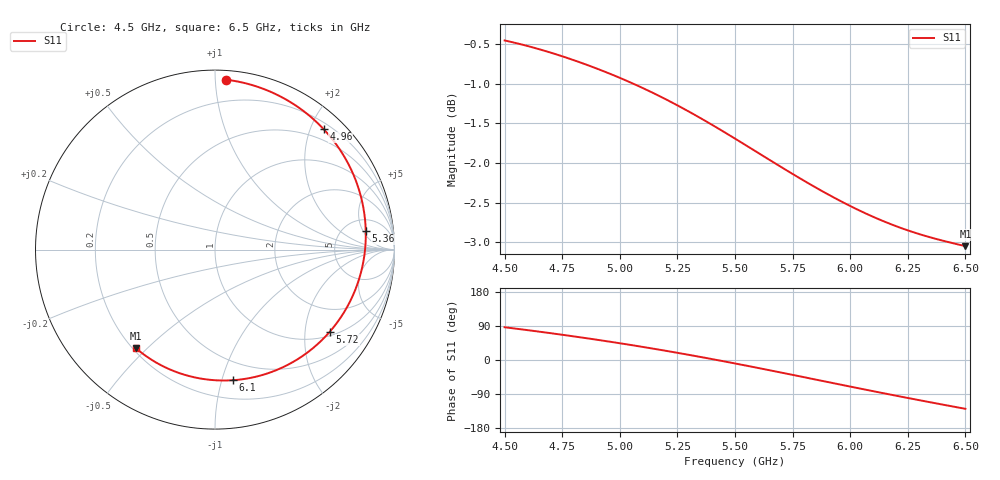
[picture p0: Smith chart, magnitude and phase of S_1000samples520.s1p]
! TOUCHSTONE file generated by CST MICROWAVE STUDIO
! Date and time: Fri Oct 28 11:00:57 2022
! Project name: L.cst
! Parameters = {Di=1.27; Epsilon_r=1.56; InnerDiameter=1.27; Length=2; Lf=10; Lg=60; OuterConductorThickness=0.2921; OuterDiameter=3.6; Wf=3; Wp=41.2; de=1.5; df=6.8; g=0.8; gx=2.27928; gy=2.84797; h=2.34; hf=1.524; px=9.47424; py=11.0852; w=9.7; wx=7.19496; wy=8.2372}
! Header version: 2018
! Port assignment regex: !\s*Touchstone port\s*([0-9]+)\s*=\s*(CST MWS port|CST DS port)\s*([0-9]+|Zmin|Zmax)\s*\(\"(.*)\"\)(\s*mode\s*([0-9]+))?.*
! Touchstone port assignment:
! Touchstone port 1 = CST MWS port 1 ("")
# GHz S DB R 50
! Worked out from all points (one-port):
!   101 points, 4.5 GHz to 6.5 GHz, reference 50 ohm
!   lowest |S11| = -3.1 dB at 6.5 GHz (marker M1), VSWR 5.75, Z = 10.6 - j23.1 ohm
!   |S11| at or under -10 dB: nowhere
!   S11 on the Smith chart (normalised r, x): 4.5 GHz: 0.06, +1.06; 4.96 GHz: 0.30, +2.21; 5.36 GHz: 7.89, +5.66; 5.72 GHz: 1.12, -2.70; 6.1 GHz: 0.34, -1.08; 6.5 GHz: 0.21, -0.46
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4.5  -0.46 86.4
4.58  -0.51 80.3
4.64  -0.56 75.6
4.76  -0.66 65.7
4.86  -0.77 57.1
4.96  -0.88 48.0
5  -0.93 44.2
5.08  -1.03 36.5
5.14  -1.11 30.4
5.2  -1.20 24.2
5.26  -1.29 17.9
5.36  -1.45 6.9
5.44  -1.59 -2.2
5.5  -1.69 -9.1
5.6  -1.87 -21.0
5.66  -1.98 -28.2
5.72  -2.09 -35.6
5.76  -2.16 -40.5
5.82  -2.26 -47.9
5.88  -2.36 -55.3
5.94  -2.45 -62.7
6  -2.54 -70.1
6.1  -2.68 -82.3
6.18  -2.78 -91.9
6.26  -2.86 -101.4
6.32  -2.92 -108.3
6.38  -2.97 -115.2
6.5  -3.05 -128.8
